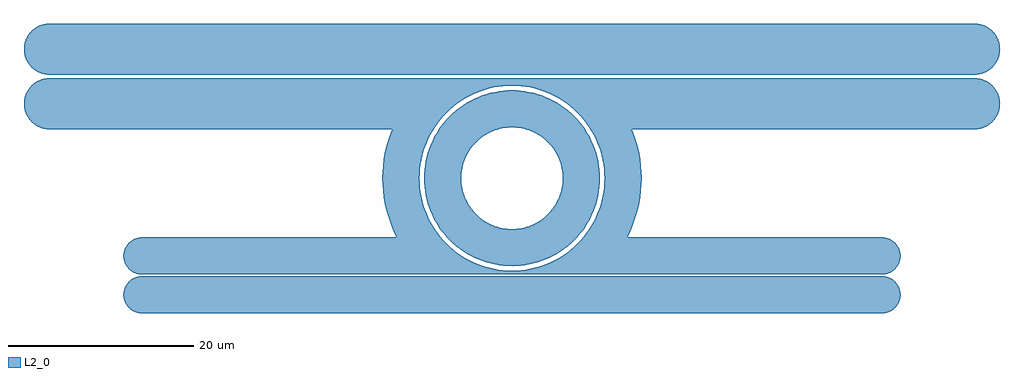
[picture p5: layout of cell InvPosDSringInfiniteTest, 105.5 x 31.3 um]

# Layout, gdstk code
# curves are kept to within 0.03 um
import gdstk
lib = gdstk.Library(unit=1e-6, precision=1e-09)
def R(c, l, rs):  # rectangles x0, y0, x1, y1
    for r in rs: c.add(gdstk.rectangle(r[:2], r[2:], *l))
def P(c, l, *ps):  # polygons
    for p in ps: c.add(gdstk.Polygon(p, *l))
L2_0 = (2, 0)

invposdsringinfinitetest = lib.new_cell('InvPosDSringInfiniteTest')
R(invposdsringinfinitetest, L2_0, [(-40,-14.6,40,-10.6), (-50,11.2,50,16.7)])
P(invposdsringinfinitetest, L2_0, [(0,-9.5),(-0.931,-9.454),(-1.853,-9.317),(-2.758,-9.091),(-3.635,-8.777),(-4.478,-8.378),(-5.278,-7.899),(-6.027,-7.344),(-6.718,-6.718),(-7.344,-6.027),(-7.899,-5.278),(-8.378,-4.478),(-8.777,-3.635),(-9.091,-2.758),(-9.317,-1.853),(-9.454,-0.931),(-9.5,0),(-9.454,0.931),(-9.317,1.853),(-9.091,2.758),(-8.777,3.635),(-8.378,4.478),(-7.899,5.278),(-7.344,6.027),(-6.718,6.718),(-6.027,7.344),(-5.278,7.899),(-4.478,8.378),(-3.635,8.777),(-2.758,9.091),(-1.853,9.317),(-0.931,9.454),(0,9.5),(0.931,9.454),(1.853,9.317),(2.758,9.091),(3.635,8.777),(4.478,8.378),(5.278,7.899),(6.027,7.344),(6.718,6.718),(7.344,6.027),(7.899,5.278),(8.378,4.478),(8.777,3.635),(9.091,2.758),(9.317,1.853),(9.454,0.931),(9.5,0),(5.5,0),(5.44,0.807),(5.263,1.597),(4.851,2.593),(4.418,3.276),(3.694,4.075),(3.056,4.573),(2.352,4.972),(1.597,5.263),(0.807,5.44),(0,5.5),(-0.539,5.474),(-1.336,5.335),(-2.105,5.081),(-2.828,4.718),(-3.489,4.252),(-3.889,3.889),(-4.252,3.489),(-4.718,2.828),(-4.972,2.352),(-5.263,1.597),(-5.44,0.807),(-5.5,0),(-5.474,-0.539),(-5.335,-1.336),(-5.081,-2.105),(-4.851,-2.593),(-4.418,-3.276),(-4.075,-3.694),(-3.489,-4.252),(-2.828,-4.718),(-2.352,-4.972),(-1.597,-5.263),(-1.073,-5.394),(-0.27,-5.493),(0.539,-5.474),(1.073,-5.394),(1.597,-5.263),(2.352,-4.972),(3.276,-4.418),(3.694,-4.075),(4.252,-3.489),(4.851,-2.593),(5.081,-2.105),(5.335,-1.336),(5.474,-0.539),(5.5,0),(9.5,0),(9.454,-0.931),(9.317,-1.853),(9.091,-2.758),(8.777,-3.635),(8.378,-4.478),(7.899,-5.278),(7.344,-6.027),(6.718,-6.718),(6.027,-7.344),(5.278,-7.899),(4.478,-8.378),(3.635,-8.777),(2.758,-9.091),(1.853,-9.317),(0.931,-9.454)],
  [(-40,-10.4),(-40,-6.4),(-12.447,-6.4),(-13.182,-4.716),(-13.58,-3.402),(-13.848,-2.054),(-13.983,-0.687),(-13.983,0.687),(-13.848,2.054),(-13.58,3.402),(-13.397,4.064),(-12.957,5.3),(-50,5.3),(-50,10.8),(50,10.8),(50,5.3),(12.957,5.3),(13.397,4.064),(13.731,2.731),(13.933,1.372),(14,0),(10,0),(9.952,0.98),(9.808,1.951),(9.415,3.369),(8.819,4.714),(8.315,5.556),(7.73,6.344),(6.716,7.41),(5.957,8.032),(5.141,8.577),(3.827,9.239),(2.903,9.569),(1.951,9.808),(0.491,9.988),(-0.491,9.988),(-1.467,9.892),(-2.903,9.569),(-4.276,9.04),(-5.556,8.315),(-6.344,7.73),(-7.071,7.071),(-7.73,6.344),(-8.315,5.556),(-9.04,4.276),(-9.569,2.903),(-9.808,1.951),(-9.952,0.98),(-10,0),(-9.952,-0.98),(-9.808,-1.951),(-9.569,-2.903),(-9.04,-4.276),(-8.577,-5.141),(-8.032,-5.957),(-7.41,-6.716),(-6.716,-7.41),(-5.556,-8.315),(-4.714,-8.819),(-3.827,-9.239),(-2.903,-9.569),(-1.951,-9.808),(-0.98,-9.952),(0,-10),(0.98,-9.952),(1.951,-9.808),(2.903,-9.569),(3.827,-9.239),(4.714,-8.819),(5.556,-8.315),(6.716,-7.41),(7.73,-6.344),(8.577,-5.141),(9.239,-3.827),(9.7,-2.43),(9.892,-1.467),(10,0),(14,0),(13.933,-1.372),(13.731,-2.731),(13.58,-3.402),(13.182,-4.716),(12.447,-6.4),(40,-6.4),(40,-10.4)],
  [(50,5.3),(50,10.8),(50.554,10.744),(51.07,10.584),(51.538,10.33),(51.945,9.995),(52.28,9.588),(52.534,9.12),(52.694,8.604),(52.75,8.05),(52.694,7.496),(52.534,6.98),(52.28,6.512),(51.945,6.105),(51.538,5.77),(51.07,5.516),(50.554,5.356)],
  [(-50,5.3),(-50.554,5.356),(-51.07,5.516),(-51.538,5.77),(-51.945,6.105),(-52.28,6.512),(-52.534,6.98),(-52.694,7.496),(-52.75,8.05),(-52.694,8.604),(-52.534,9.12),(-52.28,9.588),(-51.945,9.995),(-51.538,10.33),(-51.07,10.584),(-50.554,10.744),(-50,10.8)],
  [(50,11.2),(50,16.7),(50.554,16.644),(51.07,16.484),(51.538,16.23),(51.945,15.895),(52.28,15.488),(52.534,15.02),(52.694,14.504),(52.75,13.95),(52.694,13.396),(52.534,12.88),(52.28,12.412),(51.945,12.005),(51.538,11.67),(51.07,11.416),(50.554,11.256)],
  [(-50,11.2),(-50.554,11.256),(-51.07,11.416),(-51.538,11.67),(-51.945,12.005),(-52.28,12.412),(-52.534,12.88),(-52.694,13.396),(-52.75,13.95),(-52.694,14.504),(-52.534,15.02),(-52.28,15.488),(-51.945,15.895),(-51.538,16.23),(-51.07,16.484),(-50.554,16.644),(-50,16.7)],
  [(40,-14.6),(40,-10.6),(40.403,-10.641),(40.778,-10.757),(41.118,-10.942),(41.414,-11.186),(41.658,-11.482),(41.843,-11.822),(41.959,-12.197),(42,-12.6),(41.959,-13.003),(41.843,-13.378),(41.658,-13.718),(41.414,-14.014),(41.118,-14.258),(40.778,-14.443),(40.403,-14.559)],
  [(-40,-14.6),(-40.403,-14.559),(-40.778,-14.443),(-41.118,-14.258),(-41.414,-14.014),(-41.658,-13.718),(-41.843,-13.378),(-41.959,-13.003),(-42,-12.6),(-41.959,-12.197),(-41.843,-11.822),(-41.658,-11.482),(-41.414,-11.186),(-41.118,-10.942),(-40.778,-10.757),(-40.403,-10.641),(-40,-10.6)],
  [(40,-10.4),(40,-6.4),(40.403,-6.441),(40.778,-6.557),(41.118,-6.742),(41.414,-6.986),(41.658,-7.282),(41.843,-7.622),(41.959,-7.997),(42,-8.4),(41.959,-8.803),(41.843,-9.178),(41.658,-9.518),(41.414,-9.814),(41.118,-10.058),(40.778,-10.243),(40.403,-10.359)],
  [(-40,-10.4),(-40.403,-10.359),(-40.778,-10.243),(-41.118,-10.058),(-41.414,-9.814),(-41.658,-9.518),(-41.843,-9.178),(-41.959,-8.803),(-42,-8.4),(-41.959,-7.997),(-41.843,-7.622),(-41.658,-7.282),(-41.414,-6.986),(-41.118,-6.742),(-40.778,-6.557),(-40.403,-6.441),(-40,-6.4)])

lib.write_gds('InvPosDSringInfiniteTest.gds')
